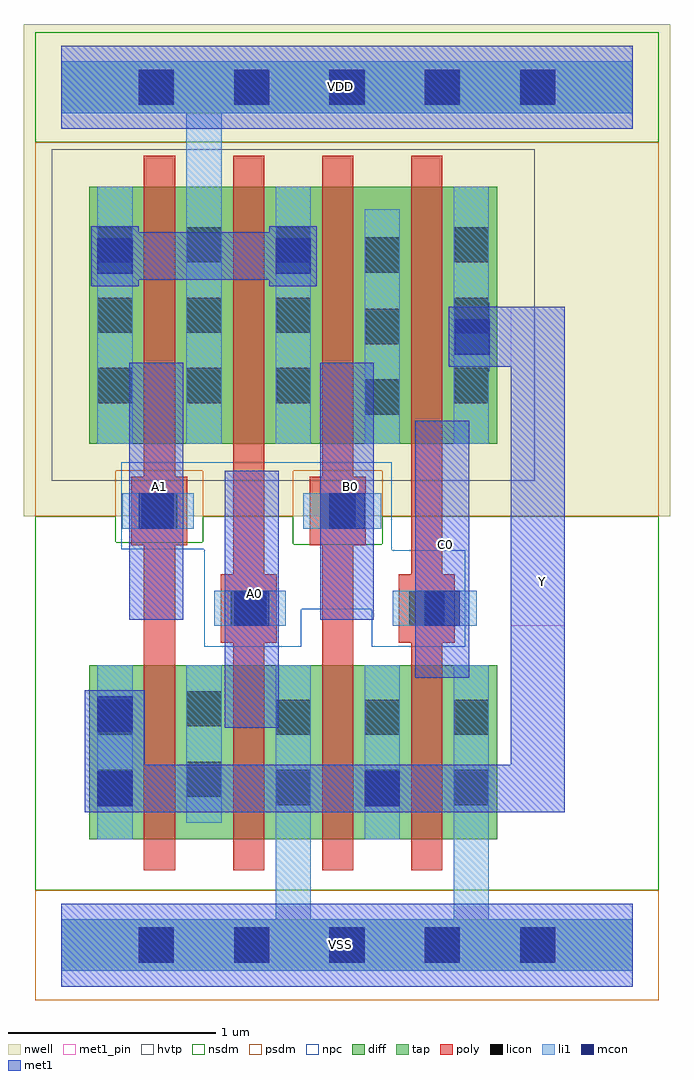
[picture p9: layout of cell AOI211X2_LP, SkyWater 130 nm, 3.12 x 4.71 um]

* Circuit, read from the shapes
.subckt AOI211X2_LP A0 A1 B0 C0 VDD VSS Y
XM1 n1 A1 Y VSS sky130_fd_pr__nfet_01v8 w=0.84 l=0.15
XM2 VSS A0 n1 VSS sky130_fd_pr__nfet_01v8 w=0.84 l=0.15
XM3 Y B0 VSS VSS sky130_fd_pr__nfet_01v8 w=0.84 l=0.15
XM4 VSS C0 Y VSS sky130_fd_pr__nfet_01v8 w=0.84 l=0.15
XM5 VDD A1 n2 VDD sky130_fd_pr__pfet_01v8_hvt w=1.24 l=0.15
XM6 n2 A0 VDD VDD sky130_fd_pr__pfet_01v8_hvt w=1.24 l=0.15
XM7 n3 B0 n2 VDD sky130_fd_pr__pfet_01v8_hvt w=1.24 l=0.15
XM8 Y C0 n3 VDD sky130_fd_pr__pfet_01v8_hvt w=1.24 l=0.15
.ends

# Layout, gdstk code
from math import pi, radians
import gdstk
lib = gdstk.Library(unit=1e-6, precision=1e-09)
def R(c, l, rs):  # rectangles x0, y0, x1, y1
    for r in rs: c.add(gdstk.rectangle(r[:2], r[2:], *l))
def A(c, l, x, y, w, h, nx, ny, dx, dy):  # array of equal rectangles
    R(c, l, [(x+i*dx, y+j*dy, x+i*dx+w, y+j*dy+h) for i in range(nx) for j in range(ny)])
def P(c, l, *ps):  # polygons
    for p in ps: c.add(gdstk.Polygon(p, *l))
nwell = (64, 20)
diff = (65, 20)
tap = (65, 44)
poly = (66, 20)
licon = (66, 44)
li1 = (67, 20)
mcon = (67, 44)
met1_pin = (68, 16)
met1 = (68, 20)
hvtp = (78, 44)
nsdm = (93, 44)
psdm = (94, 20)
npc = (95, 20)

licondiff_c_cdns_7507218 = lib.new_cell('LICONDIFF_C_CDNS_750721840974')
R(licondiff_c_cdns_7507218, diff, [(-0.125,-0.145,0.125,0.145)])
R(licondiff_c_cdns_7507218, licon, [(-0.085,-0.085,0.085,0.085), (-0.085,-0.085,0.085,0.085)])

l1m1_c_cdns_750721840971 = lib.new_cell('L1M1_C_CDNS_750721840971')
R(l1m1_c_cdns_750721840971, li1, [(-0.085,-0.165,0.085,0.165)])
R(l1m1_c_cdns_750721840971, mcon, [(-0.085,-0.085,0.085,0.085)])
R(l1m1_c_cdns_750721840971, met1, [(-0.115,-0.145,0.115,0.145)])

c_l1m1_c_cdns_750721840971 = lib.new_cell('L1M1_C_CDNS_7507218409712')
R(c_l1m1_c_cdns_750721840971, li1, [(-0.345,-0.085,0.345,0.085)])
R(c_l1m1_c_cdns_750721840971, mcon, [(-0.265,-0.085,-0.095,0.085), (0.095,-0.085,0.265,0.085)])
R(c_l1m1_c_cdns_750721840971, met1, [(-0.295,-0.145,0.295,0.145)])

c_l1m1_c_cdns_750721840971_ = lib.new_cell('L1M1_C_CDNS_7507218409711')
R(c_l1m1_c_cdns_750721840971_, li1, [(-0.085,-0.165,0.085,0.165)])
R(c_l1m1_c_cdns_750721840971_, mcon, [(-0.085,-0.085,0.085,0.085)])
R(c_l1m1_c_cdns_750721840971_, met1, [(-0.115,-0.085,0.115,0.085)])

l1m1_c_cdns_750721840973 = lib.new_cell('L1M1_C_CDNS_750721840973')
R(l1m1_c_cdns_750721840973, li1, [(-0.165,-0.085,0.165,0.085)])
R(l1m1_c_cdns_750721840973, mcon, [(-0.085,-0.085,0.085,0.085)])
R(l1m1_c_cdns_750721840973, met1, [(-0.115,-0.145,0.115,0.145)])

pyl1con_c_cdns_750721840 = lib.new_cell('PYL1CON_C_CDNS_750721840972')
R(pyl1con_c_cdns_750721840, poly, [(-0.135,-0.165,0.135,0.165)])
R(pyl1con_c_cdns_750721840, licon, [(-0.085,-0.085,0.085,0.085)])
R(pyl1con_c_cdns_750721840, npc, [(-0.185,-0.185,0.185,0.185)])

aoi211x2_lp = lib.new_cell('AOI211X2_LP')
R(aoi211x2_lp, nwell, [(-0.18,2.07,2.94,4.305), (-0.045,2.24,0.785,3.84), (0.425,2.24,1.385,3.84), (1.025,2.24,1.815,3.84), (1.455,2.24,2.285,3.84), (-0.18,3.875,2.94,4.445)])
A(aoi211x2_lp, diff, 0.4, 0.51, 0.15, 0.84, 4, 1, 0.43, 0)
A(aoi211x2_lp, diff, 0.4, 2.42, 0.15, 1.24, 4, 1, 0.43, 0)
R(aoi211x2_lp, diff, [(0.135,0.51,0.4,1.35), (0.55,0.51,0.605,1.35), (0.605,0.51,0.83,1.35), (0.98,0.51,1.205,1.35), (1.205,0.51,1.26,1.35), (1.41,0.51,1.635,1.35), (1.635,0.51,1.69,1.35), (1.84,0.51,2.105,1.35), (0.135,2.42,0.4,3.66), (0.55,2.42,0.605,3.66), (0.605,2.42,0.83,3.66), (0.98,2.42,1.205,3.66), (1.205,2.42,1.26,3.66), (1.41,2.42,1.635,3.66), (1.635,2.42,1.69,3.66), (1.84,2.42,2.105,3.66)])
A(aoi211x2_lp, poly, 0.4, 0.36, 0.15, 0.055, 4, 2, 0.43, 1.085)
A(aoi211x2_lp, poly, 0.4, 0.415, 0.15, 0.095, 4, 2, 0.43, 0.935)
A(aoi211x2_lp, poly, 0.4, 0.51, 0.15, 0.84, 4, 1, 0.43, 0)
A(aoi211x2_lp, poly, 0.4, 2.27, 0.15, 0.055, 4, 2, 0.43, 1.485)
A(aoi211x2_lp, poly, 0.4, 2.325, 0.15, 0.095, 4, 2, 0.43, 1.335)
A(aoi211x2_lp, poly, 0.4, 2.42, 0.15, 1.24, 4, 1, 0.43, 0)
A(aoi211x2_lp, licon, 0.375, -0.085, 0.17, 0.17, 5, 2, 0.46, 4.14)
A(aoi211x2_lp, licon, 1.035, 0.675, 0.17, 0.17, 3, 2, 0.43, 0.34)
A(aoi211x2_lp, licon, 0.175, 2.615, 0.17, 0.17, 3, 3, 0.43, 0.34)
A(aoi211x2_lp, licon, 1.895, 2.615, 0.17, 0.17, 1, 3, 0, 0.34)
R(aoi211x2_lp, licon, [(0.175,0.675,0.345,0.845), (0.175,1.015,0.345,1.185)])
A(aoi211x2_lp, li1, 1.035, 0.51, 0.17, 0.84, 3, 1, 0.43, 0)
A(aoi211x2_lp, li1, 0.175, 2.42, 0.17, 1.24, 3, 1, 0.43, 0)
R(aoi211x2_lp, li1, [(0.175,0.51,0.345,1.35), (1.895,2.42,2.065,3.66)])
A(aoi211x2_lp, mcon, 0.375, -0.085, 0.17, 0.17, 5, 2, 0.46, 4.14)
R(aoi211x2_lp, met1_pin, [(0.79,1.05,1.05,2.29), (1.71,1.29,1.97,2.53), (2.17,1.54,2.43,3.08), (0.33,1.57,0.59,2.81), (1.25,1.57,1.51,2.81)])
R(aoi211x2_lp, met1, [(1.87,2.79,2.43,3.08)])
R(aoi211x2_lp, hvtp, [(-0.045,2.24,0.785,3.84), (0.425,2.24,1.385,3.84), (1.025,2.24,1.815,3.84), (1.455,2.24,2.285,3.84)])
R(aoi211x2_lp, nsdm, [(-0.005,0.38,0.615,1.48), (0.595,0.38,1.215,1.48), (1.195,0.38,1.645,1.48), (1.625,0.38,2.245,1.48), (-0.125,3.875,2.885,4.405), (-0.125,3.93,2.885,4.35)])
P(aoi211x2_lp, nsdm, [(2.885,2.07),(1.55,2.07),(1.55,1.935),(1.12,1.935),(1.12,2.07),(0.685,2.07),(0.685,1.945),(0.265,1.945),(0.265,2.07),(-0.125,2.07),(-0.125,0.265),(2.885,0.265)])
R(aoi211x2_lp, psdm, [(-0.125,-0.265,2.885,0.265), (-0.125,-0.21,2.885,0.21), (-0.005,2.29,0.615,3.79), (0.595,2.29,1.215,3.79), (1.195,2.29,1.645,3.79), (1.625,2.29,2.245,3.79)])
P(aoi211x2_lp, psdm, [(2.885,3.875),(-0.125,3.875),(-0.125,2.07),(0.265,2.07),(0.265,2.3),(0.685,2.3),(0.685,2.07),(1.12,2.07),(1.12,2.29),(1.55,2.29),(1.55,2.07),(2.885,2.07)])
P(aoi211x2_lp, npc, [(1.95,1.905),(1.595,1.905),(1.595,2.33),(0.29,2.33),(0.29,1.91),(0.69,1.91),(0.69,1.44),(1.16,1.44),(1.16,1.62),(1.5,1.62),(1.5,1.44),(1.95,1.44)])
aoi211x2_lp.add(gdstk.FlexPath([(0,0),(2.76,0)], 0.25, ends="flush", simple_path=True, layer=65, datatype=44))  # tap
aoi211x2_lp.add(gdstk.FlexPath([(0,4.14),(2.76,4.14)], 0.25, ends="flush", simple_path=True, layer=65, datatype=44))  # tap
aoi211x2_lp.add(gdstk.FlexPath([(1.765,2.27),(1.765,1.49)], 0.15, ends="flush", simple_path=True, layer=66, datatype=20))  # poly
aoi211x2_lp.add(gdstk.FlexPath([(0.475,2.315),(0.475,1.345)], 0.15, ends="flush", simple_path=True, layer=66, datatype=20))  # poly
aoi211x2_lp.add(gdstk.FlexPath([(0.905,2.27),(0.905,1.385)], 0.15, ends="flush", simple_path=True, layer=66, datatype=20))  # poly
aoi211x2_lp.add(gdstk.FlexPath([(1.335,2.315),(1.335,1.43)], 0.15, ends="flush", simple_path=True, layer=66, datatype=20))  # poly
aoi211x2_lp.add(gdstk.FlexPath([(1.98,0.59),(1.98,0)], 0.17, ends="flush", simple_path=True, layer=67, datatype=20))  # li1
aoi211x2_lp.add(gdstk.FlexPath([(1.12,0.59),(1.12,0)], 0.17, ends="flush", simple_path=True, layer=67, datatype=20))  # li1
aoi211x2_lp.add(gdstk.FlexPath([(2.47,0),(2.76,0)], 0.25, ends=(0.085, 0), simple_path=True, layer=67, datatype=20))  # li1
aoi211x2_lp.add(gdstk.FlexPath([(1.61,0),(2.47,0)], 0.25, ends=(0.085, 0.085), simple_path=True, layer=67, datatype=20))  # li1
aoi211x2_lp.add(gdstk.FlexPath([(0.69,0),(1.61,0)], 0.25, ends=(0.085, 0.085), simple_path=True, layer=67, datatype=20))  # li1
aoi211x2_lp.add(gdstk.FlexPath([(0,0),(0.69,0)], 0.25, ends=(0, 0.085), simple_path=True, layer=67, datatype=20))  # li1
aoi211x2_lp.add(gdstk.FlexPath([(0.69,3.55),(0.69,4.14)], 0.17, ends=(0, 0.125), simple_path=True, layer=67, datatype=20))  # li1
aoi211x2_lp.add(gdstk.FlexPath([(1.84,1.625),(1.6,1.625)], 0.17, ends="flush", simple_path=True, layer=67, datatype=20))  # li1
aoi211x2_lp.add(gdstk.FlexPath([(1.38,2.095),(1.17,2.095)], 0.17, ends="flush", simple_path=True, layer=67, datatype=20))  # li1
aoi211x2_lp.add(gdstk.FlexPath([(0.69,1.02),(0.69,1.335)], 0.17, ends="flush", simple_path=True, layer=67, datatype=20))  # li1
aoi211x2_lp.add(gdstk.FlexPath([(2.47,4.14),(2.76,4.14)], 0.25, ends=(0.085, 0), simple_path=True, layer=67, datatype=20))  # li1
aoi211x2_lp.add(gdstk.FlexPath([(0.92,1.625),(0.74,1.625)], 0.17, ends="flush", simple_path=True, layer=67, datatype=20))  # li1
aoi211x2_lp.add(gdstk.FlexPath([(0.46,2.095),(0.64,2.095)], 0.17, ends="flush", simple_path=True, layer=67, datatype=20))  # li1
aoi211x2_lp.add(gdstk.FlexPath([(1.61,4.14),(2.47,4.14)], 0.25, ends=(0.085, 0.085), simple_path=True, layer=67, datatype=20))  # li1
aoi211x2_lp.add(gdstk.FlexPath([(0.69,0.905),(0.69,1.35)], 0.17, ends="flush", simple_path=True, layer=67, datatype=20))  # li1
aoi211x2_lp.add(gdstk.FlexPath([(0,4.14),(0.69,4.14)], 0.25, ends=(0, 0.085), simple_path=True, layer=67, datatype=20))  # li1
aoi211x2_lp.add(gdstk.FlexPath([(0.69,4.14),(1.61,4.14)], 0.25, ends=(0.085, 0.085), simple_path=True, layer=67, datatype=20))  # li1
aoi211x2_lp.add(gdstk.FlexPath([(1.55,2.42),(1.55,3.55)], 0.17, ends="flush", simple_path=True, layer=67, datatype=20))  # li1
aoi211x2_lp.add(gdstk.FlexPath([(0.69,0.59),(0.69,0.905)], 0.17, ends="flush", simple_path=True, layer=67, datatype=20))  # li1
aoi211x2_lp.add(gdstk.FlexPath([(0,0),(2.76,0)], 0.4, ends="flush", simple_path=True, layer=68, datatype=20))  # met1
aoi211x2_lp.add(gdstk.FlexPath([(0,4.14),(2.76,4.14)], 0.4, ends="flush", simple_path=True, layer=68, datatype=20))  # met1
aoi211x2_lp.add(gdstk.FlexPath([(1.55,0.755),(0.26,0.755)], 0.23, ends="flush", simple_path=True, layer=68, datatype=20))  # met1
aoi211x2_lp.add(gdstk.FlexPath([(2.3,0.785),(2.3,0.64)], 0.26, ends=(0.145, 0), simple_path=True, layer=68, datatype=20))  # met1
aoi211x2_lp.add(gdstk.FlexPath([(0.46,2.81),(0.46,1.57)], 0.26, ends="flush", simple_path=True, layer=68, datatype=20))  # met1
aoi211x2_lp.add(gdstk.FlexPath([(1.38,2.81),(1.38,1.57)], 0.26, ends="flush", simple_path=True, layer=68, datatype=20))  # met1
aoi211x2_lp.add(gdstk.FlexPath([(1.84,2.53),(1.84,1.29)], 0.26, ends="flush", simple_path=True, layer=68, datatype=20))  # met1
aoi211x2_lp.add(gdstk.FlexPath([(0.92,2.29),(0.92,1.05)], 0.26, ends="flush", simple_path=True, layer=68, datatype=20))  # met1
aoi211x2_lp.add(gdstk.FlexPath([(0.26,3.325),(1.12,3.325)], 0.23, ends="flush", simple_path=True, layer=68, datatype=20))  # met1
aoi211x2_lp.add(gdstk.FlexPath([(2.135,0.755),(1.55,0.755)], 0.23, ends=(0.115, 0), simple_path=True, layer=68, datatype=20))  # met1
aoi211x2_lp.add(gdstk.FlexPath([(2.3,3.08),(2.3,0.785)], 0.26, ends=(0, 0.145), simple_path=True, layer=68, datatype=20))  # met1
aoi211x2_lp.add(gdstk.FlexPath([(0,4.14),(2.76,4.14)], 0.4, ends="flush", simple_path=True, layer=68, datatype=16))  # met1_pin
aoi211x2_lp.add(gdstk.FlexPath([(0,0),(2.76,0)], 0.4, ends="flush", simple_path=True, layer=68, datatype=16))  # met1_pin
aoi211x2_lp.add(gdstk.Reference(licondiff_c_cdns_7507218, (1.55,2.645)))
aoi211x2_lp.add(gdstk.Reference(licondiff_c_cdns_7507218, (0.69,1.14)))
aoi211x2_lp.add(gdstk.Reference(licondiff_c_cdns_7507218, (0.69,0.8)))
aoi211x2_lp.add(gdstk.Reference(licondiff_c_cdns_7507218, (1.55,2.985)))
aoi211x2_lp.add(gdstk.Reference(licondiff_c_cdns_7507218, (1.55,3.33)))
aoi211x2_lp.add(gdstk.Reference(l1m1_c_cdns_750721840971, (1.985,2.935), x_reflection=True))
aoi211x2_lp.add(gdstk.Reference(l1m1_c_cdns_750721840971, (1.12,3.325)))
aoi211x2_lp.add(gdstk.Reference(l1m1_c_cdns_750721840971, (0.26,3.325)))
aoi211x2_lp.add(gdstk.Reference(c_l1m1_c_cdns_750721840971, (0.26,0.935), rotation=pi/2))
aoi211x2_lp.add(gdstk.Reference(c_l1m1_c_cdns_750721840971_, (1.55,0.755), x_reflection=True))
aoi211x2_lp.add(gdstk.Reference(l1m1_c_cdns_750721840973, (1.38,2.095)))
aoi211x2_lp.add(gdstk.Reference(l1m1_c_cdns_750721840973, (0.46,2.095)))
aoi211x2_lp.add(gdstk.Reference(l1m1_c_cdns_750721840973, (0.92,1.625)))
aoi211x2_lp.add(gdstk.Reference(l1m1_c_cdns_750721840973, (1.84,1.625)))
aoi211x2_lp.add(gdstk.Reference(pyl1con_c_cdns_750721840, (0.905,1.625), x_reflection=True))
aoi211x2_lp.add(gdstk.Reference(pyl1con_c_cdns_750721840, (1.335,2.095), x_reflection=True))
aoi211x2_lp.add(gdstk.Reference(pyl1con_c_cdns_750721840, (0.475,2.095), x_reflection=True))
aoi211x2_lp.add(gdstk.Reference(pyl1con_c_cdns_750721840, (1.765,1.625), x_reflection=True))
aoi211x2_lp.add(gdstk.Label('VDD', (1.35,4.145), layer=68, texttype=5))
aoi211x2_lp.add(gdstk.Label('Y', (2.325,1.755), layer=68, texttype=5))
aoi211x2_lp.add(gdstk.Label('C0', (1.855,1.935), layer=68, texttype=5))
aoi211x2_lp.add(gdstk.Label('VSS', (1.35,0.005), layer=68, texttype=5))
aoi211x2_lp.add(gdstk.Label('B0', (1.395,2.215), layer=68, texttype=5))
aoi211x2_lp.add(gdstk.Label('A0', (0.935,1.695), layer=68, texttype=5))
aoi211x2_lp.add(gdstk.Label('A1', (0.475,2.215), layer=68, texttype=5))

lib.write_gds('AOI211X2_LP.gds')
